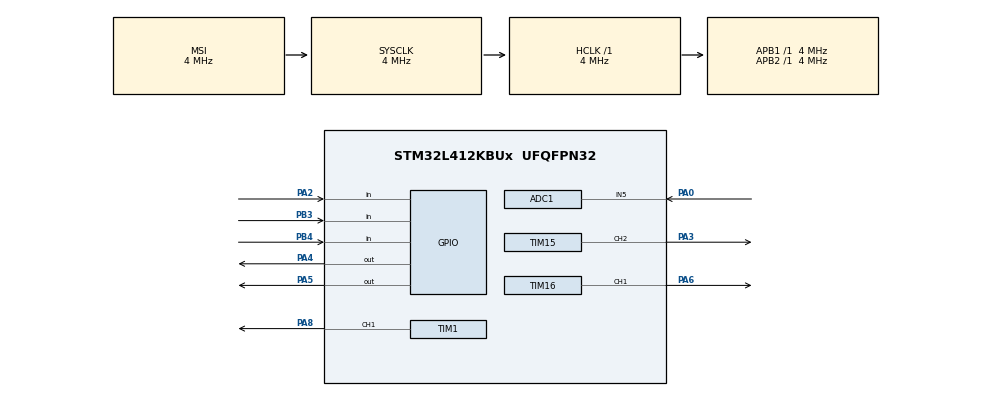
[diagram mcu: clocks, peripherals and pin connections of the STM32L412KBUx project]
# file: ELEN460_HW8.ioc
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ADC1.Channel-0\#ChannelRegularConversion=ADC_CHANNEL_5
ADC1.NbrOfConversionFlag=1
ADC1.OffsetNumber-0\#ChannelRegularConversion=ADC_OFFSET_NONE
ADC1.Rank-0\#ChannelRegularConversion=1
ADC1.SamplingTime-0\#ChannelRegularConversion=ADC_SAMPLETIME_2CYCLES_5
ADC1.master=1
Mcu.Family=STM32L4
Mcu.Name=STM32L412KBUx
Mcu.Package=UFQFPN32
NVIC.ADC1_2_IRQn=true\:0\:0\:false\:false\:true\:true\:true
NVIC.PriorityGroup=NVIC_PRIORITYGROUP_4
PA0-CK_IN.Signal=ADCx_IN5
PA2.GPIO_PuPd=GPIO_PULLUP
PA2.Signal=GPIO_Input
PA3.Signal=S_TIM15_CH2
PA4.GPIO_PuPd=GPIO_PULLDOWN
PA4.Signal=GPIO_Output
PA5.GPIO_PuPd=GPIO_PULLDOWN
PA5.Signal=GPIO_Output
PA6.Signal=S_TIM16_CH1
PA8.Signal=S_TIM1_CH1
PB3\ (JTDO/TRACESWO).GPIO_PuPd=GPIO_PULLUP
PB3\ (JTDO/TRACESWO).Signal=GPIO_Input
PB4\ (NJTRST).GPIO_PuPd=GPIO_PULLUP
PB4\ (NJTRST).Signal=GPIO_Input
ProjectManager.HeapSize=0x200
ProjectManager.StackSize=0x400
ProjectManager.TargetToolchain=EWARM V8.32
RCC.ADCFreq_Value=4000000
RCC.AHBFreq_Value=4000000
RCC.APB1Freq_Value=4000000
RCC.APB1TimFreq_Value=4000000
RCC.APB2Freq_Value=4000000
RCC.APB2TimFreq_Value=4000000
RCC.CortexFreq_Value=4000000
RCC.HCLKFreq_Value=4000000
RCC.HSE_VALUE=8000000
RCC.HSI48_VALUE=48000000
RCC.HSI_VALUE=16000000
RCC.LSE_VALUE=32768
RCC.MSI_VALUE=4000000
RCC.SYSCLKFreq_VALUE=4000000
RCC.USBFreq_Value=4000000
RCC.VCOOutputFreq_Value=32000000
SH.ADCx_IN5.0=ADC1_IN5,IN5-Single-Ended
SH.S_TIM15_CH2.0=TIM15_CH2,PWM Generation2 CH2
SH.S_TIM16_CH1.0=TIM16_CH1,PWM Generation1 CH1
SH.S_TIM1_CH1.0=TIM1_CH1,PWM Generation1 CH1
TIM1.Channel-PWM\ Generation1\ CH1=TIM_CHANNEL_1
TIM1.Period=10000
TIM1.Prescaler=8
TIM15.Channel-PWM\ Generation2\ CH2=TIM_CHANNEL_2
TIM15.Period=65535
TIM15.Prescaler=0
TIM16.Channel=TIM_CHANNEL_1
TIM16.Period=65535
TIM16.Prescaler=0
VP_TIM16_VS_ClockSourceINT.Mode=Enable_Timer
board=custom

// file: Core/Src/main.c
/* USER CODE BEGIN Header */
/**
  ******************************************************************************
  * @file           : main.c
  * @brief          : Main program body
  ******************************************************************************
  * @attention
  *
  * <h2><center>&copy; Copyright (c) 2021 STMicroelectronics.
  * All rights reserved.</center></h2>
  *
  * This software component is licensed by ST under BSD 3-Clause license,
  * the "License"; You may not use this file except in compliance with the
  * License. You may obtain a copy of the License at:
  *                        opensource.org/licenses/BSD-3-Clause
  *
  ******************************************************************************
  */
/* USER CODE END Header */
#include "main.h"

/* USER CODE BEGIN PD */
#define FWD_POS_PIN                     GPIOA, GPIO_PIN_5
#define REV_POS_PIN                     GPIOA, GPIO_PIN_4
#define MOTOR_PWR_SW_PIN                GPIOA, GPIO_PIN_2
#define MOTOR_DIR_SW_PIN                GPIOB, GPIO_PIN_3
#define SERVO_PWR_SW_PIN                GPIOB, GPIO_PIN_4
#define FORWARD                         0

#define SERVO_STATE_ZERO_POSITION       0
#define SERVO_STATE_NEG_90_POSITION     1
#define SERVO_STATE_POS_90_POSITION     2
#define LEFT                            0
#define RIGHT                           1
#define SERVO_ZERO_POSITION_VALUE       675
#define SERVO_NEG_90_POSITION_VALUE     350
#define SERVO_POS_90_POSITION_VALUE     1000

/* USER CODE END PD */

ADC_HandleTypeDef hadc1;

TIM_HandleTypeDef htim1;
TIM_HandleTypeDef htim15;
TIM_HandleTypeDef htim16;

/* USER CODE BEGIN PV */
uint16_t adcValue = 0;

uint8_t count_10ms_flag = false;
uint8_t count_1_5sec_flag = false;

uint16_t motorSpeed = 0;
uint8_t motorEnable = 1;
uint8_t motorDir = 1;
uint8_t servoEnable = 1;
uint8_t servoState = SERVO_STATE_ZERO_POSITION;
uint8_t servoDir = LEFT;
/* USER CODE END PV */

void SystemClock_Config(void);
static void MX_GPIO_Init(void);
static void MX_TIM1_Init(void);
static void MX_TIM15_Init(void);
static void MX_TIM16_Init(void);
static void MX_ADC1_Init(void);
/* USER CODE BEGIN PFP */
void Set_Motor_Fwd_Speed(uint16_t speed);
void Set_Motor_Rev_Speed(uint16_t speed);
void Set_Servo_Position(uint16_t position);
/* USER CODE END PFP */

int main(void)
{

  /* MCU Configuration--------------------------------------------------------*/

  /* Reset of all peripherals, Initializes the Flash interface and the Systick. */
  HAL_Init();

  /* Configure the system clock */
  SystemClock_Config();

  /* Initialize all configured peripherals */
  MX_GPIO_Init();
  MX_TIM1_Init();
  MX_TIM15_Init();
  MX_TIM16_Init();
  MX_ADC1_Init();
  /* USER CODE BEGIN 2 */
  HAL_TIM_PWM_Start(&htim1, TIM_CHANNEL_1);
  HAL_TIM_PWM_Start(&htim15, TIM_CHANNEL_2);
  HAL_TIM_PWM_Start(&htim16, TIM_CHANNEL_1);
  HAL_GPIO_WritePin(FWD_POS_PIN, GPIO_PIN_RESET);
  HAL_GPIO_WritePin(REV_POS_PIN, GPIO_PIN_RESET);

  /* USER CODE END 2 */

  /* Infinite loop */
  /* USER CODE BEGIN WHILE */
  while (1)
  {

    // 10 ms scheduler
    if(count_10ms_flag) {
      count_10ms_flag = false;

      // Read potentiometer voltage
      HAL_ADC_Start_IT(&hadc1);

      // Read switch positions
      motorEnable = HAL_GPIO_ReadPin(MOTOR_PWR_SW_PIN);
      motorDir = HAL_GPIO_ReadPin(MOTOR_DIR_SW_PIN);
      servoEnable = HAL_GPIO_ReadPin(SERVO_PWR_SW_PIN);
      motorSpeed = adcValue << 4;

      if(!motorEnable) { // Inverted logic
        if(motorDir == FORWARD) {       // Forward
          // First turn off reverse control transistors
          HAL_GPIO_WritePin(REV_POS_PIN, GPIO_PIN_RESET);
          Set_Motor_Rev_Speed(0);

          // Turn on forward control transistors
          HAL_GPIO_WritePin(FWD_POS_PIN, GPIO_PIN_SET);
          Set_Motor_Fwd_Speed(motorSpeed);
        }
        else {  // Reverse
          // First turn off foward control transistors
          HAL_GPIO_WritePin(FWD_POS_PIN, GPIO_PIN_RESET);
          Set_Motor_Fwd_Speed(0);

          // Turn on reverse control transistors
          HAL_GPIO_WritePin(REV_POS_PIN, GPIO_PIN_SET);
          Set_Motor_Rev_Speed(motorSpeed);
        }
      }
      else {
        // Turn all control transistors off
        HAL_GPIO_WritePin(FWD_POS_PIN, GPIO_PIN_RESET);
        Set_Motor_Fwd_Speed(0);
        HAL_GPIO_WritePin(REV_POS_PIN, GPIO_PIN_RESET);
        Set_Motor_Rev_Speed(0);
      }

    }

    // 1.5 sec scheduler
    if(count_1_5sec_flag) {
      count_1_5sec_flag = false;
      if(!servoEnable) { // Inverted logic
        switch(servoState) {
        case SERVO_STATE_ZERO_POSITION:
          Set_Servo_Position(SERVO_ZERO_POSITION_VALUE);
          if(servoDir == LEFT) {servoState = SERVO_STATE_NEG_90_POSITION;}
          else {servoState = SERVO_STATE_POS_90_POSITION;}
          break;
        case SERVO_STATE_NEG_90_POSITION:
          Set_Servo_Position(SERVO_NEG_90_POSITION_VALUE);
          servoState = SERVO_STATE_ZERO_POSITION;
          servoDir = RIGHT;
          break;
        case SERVO_STATE_POS_90_POSITION:
          Set_Servo_Position(SERVO_POS_90_POSITION_VALUE);
          servoState = SERVO_STATE_ZERO_POSITION;
          servoDir = LEFT;
          break;
        }
      }
      else {Set_Servo_Position(0);}
    }

    /* USER CODE END WHILE */

  }
}

void SystemClock_Config(void)
{
  RCC_OscInitTypeDef RCC_OscInitStruct = {0};
  RCC_ClkInitTypeDef RCC_ClkInitStruct = {0};

  /** Configure the main internal regulator output voltage
  */
  if (HAL_PWREx_ControlVoltageScaling(PWR_REGULATOR_VOLTAGE_SCALE1) != HAL_OK)
  {
    Error_Handler();
  }
  /** Initializes the RCC Oscillators according to the specified parameters
  * in the RCC_OscInitTypeDef structure.
  */
  RCC_OscInitStruct.OscillatorType = RCC_OSCILLATORTYPE_MSI;
  RCC_OscInitStruct.MSIState = RCC_MSI_ON;
  RCC_OscInitStruct.MSICalibrationValue = 0;
  RCC_OscInitStruct.MSIClockRange = RCC_MSIRANGE_6;
  RCC_OscInitStruct.PLL.PLLState = RCC_PLL_NONE;
  if (HAL_RCC_OscConfig(&RCC_OscInitStruct) != HAL_OK)
  {
    Error_Handler();
  }
  /** Initializes the CPU, AHB and APB buses clocks
  */
  RCC_ClkInitStruct.ClockType = RCC_CLOCKTYPE_HCLK|RCC_CLOCKTYPE_SYSCLK
                              |RCC_CLOCKTYPE_PCLK1|RCC_CLOCKTYPE_PCLK2;
  RCC_ClkInitStruct.SYSCLKSource = RCC_SYSCLKSOURCE_MSI;
  RCC_ClkInitStruct.AHBCLKDivider = RCC_SYSCLK_DIV1;
  RCC_ClkInitStruct.APB1CLKDivider = RCC_HCLK_DIV1;
  RCC_ClkInitStruct.APB2CLKDivider = RCC_HCLK_DIV1;

  if (HAL_RCC_ClockConfig(&RCC_ClkInitStruct, FLASH_LATENCY_0) != HAL_OK)
  {
    Error_Handler();
  }
}

static void MX_ADC1_Init(void)
{

  ADC_MultiModeTypeDef multimode = {0};
  ADC_ChannelConfTypeDef sConfig = {0};

  /** Common config
  */
  hadc1.Instance = ADC1;
  hadc1.Init.ClockPrescaler = ADC_CLOCK_ASYNC_DIV1;
  hadc1.Init.Resolution = ADC_RESOLUTION_12B;
  hadc1.Init.DataAlign = ADC_DATAALIGN_RIGHT;
  hadc1.Init.ScanConvMode = ADC_SCAN_DISABLE;
  hadc1.Init.EOCSelection = ADC_EOC_SINGLE_CONV;
  hadc1.Init.LowPowerAutoWait = DISABLE;
  hadc1.Init.ContinuousConvMode = DISABLE;
  hadc1.Init.NbrOfConversion = 1;
  hadc1.Init.DiscontinuousConvMode = DISABLE;
  hadc1.Init.ExternalTrigConv = ADC_SOFTWARE_START;
  hadc1.Init.ExternalTrigConvEdge = ADC_EXTERNALTRIGCONVEDGE_NONE;
  hadc1.Init.DMAContinuousRequests = DISABLE;
  hadc1.Init.Overrun = ADC_OVR_DATA_PRESERVED;
  hadc1.Init.OversamplingMode = DISABLE;
  if (HAL_ADC_Init(&hadc1) != HAL_OK)
  {
    Error_Handler();
  }
  /** Configure the ADC multi-mode
  */
  multimode.Mode = ADC_MODE_INDEPENDENT;
  if (HAL_ADCEx_MultiModeConfigChannel(&hadc1, &multimode) != HAL_OK)
  {
    Error_Handler();
  }
  /** Configure Regular Channel
  */
  sConfig.Channel = ADC_CHANNEL_5;
  sConfig.Rank = ADC_REGULAR_RANK_1;
  sConfig.SamplingTime = ADC_SAMPLETIME_2CYCLES_5;
  sConfig.SingleDiff = ADC_SINGLE_ENDED;
  sConfig.OffsetNumber = ADC_OFFSET_NONE;
  sConfig.Offset = 0;
  if (HAL_ADC_ConfigChannel(&hadc1, &sConfig) != HAL_OK)
  {
    Error_Handler();
  }

}

static void MX_TIM1_Init(void)
{

  TIM_MasterConfigTypeDef sMasterConfig = {0};
  TIM_OC_InitTypeDef sConfigOC = {0};
  TIM_BreakDeadTimeConfigTypeDef sBreakDeadTimeConfig = {0};

  htim1.Instance = TIM1;
  htim1.Init.Prescaler = 8;
  htim1.Init.CounterMode = TIM_COUNTERMODE_UP;
  htim1.Init.Period = 10000;
  htim1.Init.ClockDivision = TIM_CLOCKDIVISION_DIV1;
  htim1.Init.RepetitionCounter = 0;
  htim1.Init.AutoReloadPreload = TIM_AUTORELOAD_PRELOAD_DISABLE;
  if (HAL_TIM_PWM_Init(&htim1) != HAL_OK)
  {
    Error_Handler();
  }
  sMasterConfig.MasterOutputTrigger = TIM_TRGO_RESET;
  sMasterConfig.MasterOutputTrigger2 = TIM_TRGO2_RESET;
  sMasterConfig.MasterSlaveMode = TIM_MASTERSLAVEMODE_DISABLE;
  if (HAL_TIMEx_MasterConfigSynchronization(&htim1, &sMasterConfig) != HAL_OK)
  {
    Error_Handler();
  }
  sConfigOC.OCMode = TIM_OCMODE_PWM1;
  sConfigOC.Pulse = 0;
  sConfigOC.OCPolarity = TIM_OCPOLARITY_HIGH;
  sConfigOC.OCNPolarity = TIM_OCNPOLARITY_HIGH;
  sConfigOC.OCFastMode = TIM_OCFAST_DISABLE;
  sConfigOC.OCIdleState = TIM_OCIDLESTATE_RESET;
  sConfigOC.OCNIdleState = TIM_OCNIDLESTATE_RESET;
  if (HAL_TIM_PWM_ConfigChannel(&htim1, &sConfigOC, TIM_CHANNEL_1) != HAL_OK)
  {
    Error_Handler();
  }
  sBreakDeadTimeConfig.OffStateRunMode = TIM_OSSR_DISABLE;
  sBreakDeadTimeConfig.OffStateIDLEMode = TIM_OSSI_DISABLE;
  sBreakDeadTimeConfig.LockLevel = TIM_LOCKLEVEL_OFF;
  sBreakDeadTimeConfig.DeadTime = 0;
  sBreakDeadTimeConfig.BreakState = TIM_BREAK_DISABLE;
  sBreakDeadTimeConfig.BreakPolarity = TIM_BREAKPOLARITY_HIGH;
  sBreakDeadTimeConfig.BreakFilter = 0;
  sBreakDeadTimeConfig.Break2State = TIM_BREAK2_DISABLE;
  sBreakDeadTimeConfig.Break2Polarity = TIM_BREAK2POLARITY_HIGH;
  sBreakDeadTimeConfig.Break2Filter = 0;
  sBreakDeadTimeConfig.AutomaticOutput = TIM_AUTOMATICOUTPUT_DISABLE;
  if (HAL_TIMEx_ConfigBreakDeadTime(&htim1, &sBreakDeadTimeConfig) != HAL_OK)
  {
    Error_Handler();
  }
  HAL_TIM_MspPostInit(&htim1);

}

static void MX_TIM15_Init(void)
{

  TIM_MasterConfigTypeDef sMasterConfig = {0};
  TIM_OC_InitTypeDef sConfigOC = {0};
  TIM_BreakDeadTimeConfigTypeDef sBreakDeadTimeConfig = {0};

  htim15.Instance = TIM15;
  htim15.Init.Prescaler = 0;
  htim15.Init.CounterMode = TIM_COUNTERMODE_UP;
  htim15.Init.Period = 65535;
  htim15.Init.ClockDivision = TIM_CLOCKDIVISION_DIV1;
  htim15.Init.RepetitionCounter = 0;
  htim15.Init.AutoReloadPreload = TIM_AUTORELOAD_PRELOAD_DISABLE;
  if (HAL_TIM_PWM_Init(&htim15) != HAL_OK)
  {
    Error_Handler();
  }
  sMasterConfig.MasterOutputTrigger = TIM_TRGO_RESET;
  sMasterConfig.MasterSlaveMode = TIM_MASTERSLAVEMODE_DISABLE;
  if (HAL_TIMEx_MasterConfigSynchronization(&htim15, &sMasterConfig) != HAL_OK)
  {
    Error_Handler();
  }
  sConfigOC.OCMode = TIM_OCMODE_PWM1;
  sConfigOC.Pulse = 0;
  sConfigOC.OCPolarity = TIM_OCPOLARITY_HIGH;
  sConfigOC.OCNPolarity = TIM_OCNPOLARITY_HIGH;
  sConfigOC.OCFastMode = TIM_OCFAST_DISABLE;
  sConfigOC.OCIdleState = TIM_OCIDLESTATE_RESET;
  sConfigOC.OCNIdleState = TIM_OCNIDLESTATE_RESET;
  if (HAL_TIM_PWM_ConfigChannel(&htim15, &sConfigOC, TIM_CHANNEL_2) != HAL_OK)
  {
    Error_Handler();
  }
  sBreakDeadTimeConfig.OffStateRunMode = TIM_OSSR_DISABLE;
  sBreakDeadTimeConfig.OffStateIDLEMode = TIM_OSSI_DISABLE;
  sBreakDeadTimeConfig.LockLevel = TIM_LOCKLEVEL_OFF;
  sBreakDeadTimeConfig.DeadTime = 0;
  sBreakDeadTimeConfig.BreakState = TIM_BREAK_DISABLE;
  sBreakDeadTimeConfig.BreakPolarity = TIM_BREAKPOLARITY_HIGH;
  sBreakDeadTimeConfig.AutomaticOutput = TIM_AUTOMATICOUTPUT_DISABLE;
  if (HAL_TIMEx_ConfigBreakDeadTime(&htim15, &sBreakDeadTimeConfig) != HAL_OK)
  {
    Error_Handler();
  }
  HAL_TIM_MspPostInit(&htim15);

}

static void MX_TIM16_Init(void)
{

  TIM_OC_InitTypeDef sConfigOC = {0};
  TIM_BreakDeadTimeConfigTypeDef sBreakDeadTimeConfig = {0};

  htim16.Instance = TIM16;
  htim16.Init.Prescaler = 0;
  htim16.Init.CounterMode = TIM_COUNTERMODE_UP;
  htim16.Init.Period = 65535;
  htim16.Init.ClockDivision = TIM_CLOCKDIVISION_DIV1;
  htim16.Init.RepetitionCounter = 0;
  htim16.Init.AutoReloadPreload = TIM_AUTORELOAD_PRELOAD_DISABLE;
  if (HAL_TIM_Base_Init(&htim16) != HAL_OK)
  {
    Error_Handler();
  }
  if (HAL_TIM_PWM_Init(&htim16) != HAL_OK)
  {
    Error_Handler();
  }
  sConfigOC.OCMode = TIM_OCMODE_PWM1;
  sConfigOC.Pulse = 0;
  sConfigOC.OCPolarity = TIM_OCPOLARITY_HIGH;
  sConfigOC.OCNPolarity = TIM_OCNPOLARITY_HIGH;
  sConfigOC.OCFastMode = TIM_OCFAST_DISABLE;
  sConfigOC.OCIdleState = TIM_OCIDLESTATE_RESET;
  sConfigOC.OCNIdleState = TIM_OCNIDLESTATE_RESET;
  if (HAL_TIM_PWM_ConfigChannel(&htim16, &sConfigOC, TIM_CHANNEL_1) != HAL_OK)
  {
    Error_Handler();
  }
  sBreakDeadTimeConfig.OffStateRunMode = TIM_OSSR_DISABLE;
  sBreakDeadTimeConfig.OffStateIDLEMode = TIM_OSSI_DISABLE;
  sBreakDeadTimeConfig.LockLevel = TIM_LOCKLEVEL_OFF;
  sBreakDeadTimeConfig.DeadTime = 0;
  sBreakDeadTimeConfig.BreakState = TIM_BREAK_DISABLE;
  sBreakDeadTimeConfig.BreakPolarity = TIM_BREAKPOLARITY_HIGH;
  sBreakDeadTimeConfig.AutomaticOutput = TIM_AUTOMATICOUTPUT_DISABLE;
  if (HAL_TIMEx_ConfigBreakDeadTime(&htim16, &sBreakDeadTimeConfig) != HAL_OK)
  {
    Error_Handler();
  }
  HAL_TIM_MspPostInit(&htim16);

}

static void MX_GPIO_Init(void)
{
  GPIO_InitTypeDef GPIO_InitStruct = {0};

  /* GPIO Ports Clock Enable */
  __HAL_RCC_GPIOA_CLK_ENABLE();
  __HAL_RCC_GPIOB_CLK_ENABLE();

  /*Configure GPIO pin Output Level */
  HAL_GPIO_WritePin(GPIOA, GPIO_PIN_4|GPIO_PIN_5, GPIO_PIN_RESET);

  /*Configure GPIO pin : PA2 */
  GPIO_InitStruct.Pin = GPIO_PIN_2;
  GPIO_InitStruct.Mode = GPIO_MODE_INPUT;
  GPIO_InitStruct.Pull = GPIO_PULLUP;
  HAL_GPIO_Init(GPIOA, &GPIO_InitStruct);

  /*Configure GPIO pins : PA4 PA5 */
  GPIO_InitStruct.Pin = GPIO_PIN_4|GPIO_PIN_5;
  GPIO_InitStruct.Mode = GPIO_MODE_OUTPUT_PP;
  GPIO_InitStruct.Pull = GPIO_PULLDOWN;
  GPIO_InitStruct.Speed = GPIO_SPEED_FREQ_LOW;
  HAL_GPIO_Init(GPIOA, &GPIO_InitStruct);

  /*Configure GPIO pins : PB3 PB4 */
  GPIO_InitStruct.Pin = GPIO_PIN_3|GPIO_PIN_4;
  GPIO_InitStruct.Mode = GPIO_MODE_INPUT;
  GPIO_InitStruct.Pull = GPIO_PULLUP;
  HAL_GPIO_Init(GPIOB, &GPIO_InitStruct);

}

/* USER CODE BEGIN 4 */

void Set_Motor_Fwd_Speed(uint16_t speed) {
  TIM_OC_InitTypeDef motorConfig = {0};

  motorConfig.OCMode = TIM_OCMODE_PWM1;
  motorConfig.Pulse = speed;
  motorConfig.OCPolarity = TIM_OCPOLARITY_HIGH;
  motorConfig.OCNPolarity = TIM_OCNPOLARITY_HIGH;
  motorConfig.OCFastMode = TIM_OCFAST_DISABLE;
  motorConfig.OCIdleState = TIM_OCIDLESTATE_RESET;
  motorConfig.OCNIdleState = TIM_OCNIDLESTATE_RESET;

  HAL_TIM_PWM_Stop(&htim16, TIM_CHANNEL_1);
  HAL_TIM_PWM_ConfigChannel(&htim16, &motorConfig, TIM_CHANNEL_1);
  HAL_TIM_PWM_Start(&htim16, TIM_CHANNEL_1);
}

void Set_Motor_Rev_Speed(uint16_t speed) {
  TIM_OC_InitTypeDef motorConfig = {0};

  motorConfig.OCMode = TIM_OCMODE_PWM1;
  motorConfig.Pulse = speed;
  motorConfig.OCPolarity = TIM_OCPOLARITY_HIGH;
  motorConfig.OCNPolarity = TIM_OCNPOLARITY_HIGH;
  motorConfig.OCFastMode = TIM_OCFAST_DISABLE;
  motorConfig.OCIdleState = TIM_OCIDLESTATE_RESET;
  motorConfig.OCNIdleState = TIM_OCNIDLESTATE_RESET;

  HAL_TIM_PWM_Stop(&htim15, TIM_CHANNEL_2);
  HAL_TIM_PWM_ConfigChannel(&htim15, &motorConfig, TIM_CHANNEL_2);
  HAL_TIM_PWM_Start(&htim15, TIM_CHANNEL_2);
}

void Set_Servo_Position(uint16_t position) {
  TIM_OC_InitTypeDef servoConfig = {0};

  servoConfig.OCMode = TIM_OCMODE_PWM1;
  servoConfig.Pulse = position;
  servoConfig.OCPolarity = TIM_OCPOLARITY_HIGH;
  servoConfig.OCNPolarity = TIM_OCNPOLARITY_HIGH;
  servoConfig.OCFastMode = TIM_OCFAST_DISABLE;
  servoConfig.OCIdleState = TIM_OCIDLESTATE_RESET;
  servoConfig.OCNIdleState = TIM_OCNIDLESTATE_RESET;

  HAL_TIM_PWM_Stop(&htim1, TIM_CHANNEL_1);
  HAL_TIM_PWM_ConfigChannel(&htim1, &servoConfig, TIM_CHANNEL_1);
  HAL_TIM_PWM_Start(&htim1, TIM_CHANNEL_1);
}
/* USER CODE END 4 */

void Error_Handler(void)
{
  __disable_irq();
  while (1)
  {
  }
}

/************************ (C) COPYRIGHT STMicroelectronics *****END OF FILE****/
